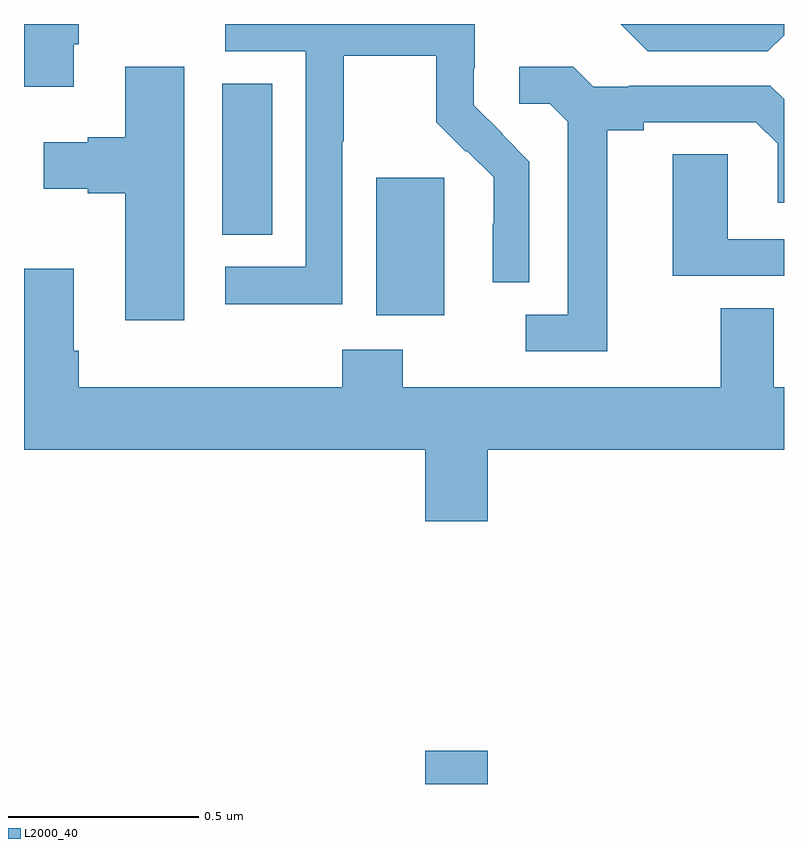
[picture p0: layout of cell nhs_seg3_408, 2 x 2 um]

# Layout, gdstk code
import gdstk
lib = gdstk.Library(unit=1e-6, precision=1e-09)
def R(c, l, rs):  # rectangles x0, y0, x1, y1
    for r in rs: c.add(gdstk.rectangle(r[:2], r[2:], *l))
def P(c, l, *ps):  # polygons
    for p in ps: c.add(gdstk.Polygon(p, *l))
L2000_40 = (2000, 40)

nhs_seg3_408 = lib.new_cell('nhs_seg3_408')
R(nhs_seg3_408, L2000_40, [(117.056,669.4,117.22,669.487), (116.927,670.634,117.106,670.995), (116.522,670.846,116.653,671.243)])
P(nhs_seg3_408, L2000_40, [(116.131,671.347),(116.144,671.347),(116.144,671.4),(116,671.4),(116,671.235),(116.131,671.235)],
  [(116.838,671.092),(116.841,671.092),(116.841,671.316),(117.085,671.316),(117.085,671.141),(117.162,671.064),(117.165,671.067),(117.236,670.997),(117.236,670.874),(117.234,670.874),(117.234,670.72),(117.33,670.72),(117.33,671.038),(117.257,671.111),(117.258,671.112),(117.184,671.186),(117.184,671.283),(117.186,671.283),(117.186,671.4),(116.529,671.4),(116.529,671.328),(116.742,671.328),(116.742,670.761),(116.529,670.761),(116.529,670.663),(116.838,670.663)],
  [(118,671.371),(118,671.4),(117.57,671.4),(117.642,671.328),(117.957,671.328)],
  [(116.422,671.287),(116.267,671.287),(116.267,671.102),(116.168,671.102),(116.168,671.089),(116.052,671.089),(116.052,670.967),(116.168,670.967),(116.168,670.955),(116.267,670.955),(116.267,670.62),(116.422,670.62)],
  [(117.535,671.12),(117.631,671.12),(117.631,671.142),(117.926,671.142),(117.983,671.085),(117.983,670.929),(118,670.929),(118,671.202),(117.964,671.238),(117.592,671.238),(117.592,671.235),(117.498,671.235),(117.446,671.287),(117.303,671.287),(117.303,671.19),(117.384,671.19),(117.431,671.143),(117.431,670.635),(117.321,670.635),(117.321,670.539),(117.535,670.539)],
  [(118,670.833),(117.852,670.833),(117.852,671.057),(117.707,671.057),(117.707,670.737),(118,670.737)],
  [(117.22,670.28),(118,670.28),(118,670.444),(117.973,670.444),(117.973,670.652),(117.833,670.652),(117.833,670.444),(116.997,670.444),(116.997,670.543),(116.837,670.543),(116.837,670.444),(116.144,670.444),(116.144,670.54),(116.131,670.54),(116.131,670.756),(116,670.756),(116,670.28),(117.056,670.28),(117.056,670.092),(117.22,670.092)])

lib.write_gds('nhs_seg3_408.gds')
